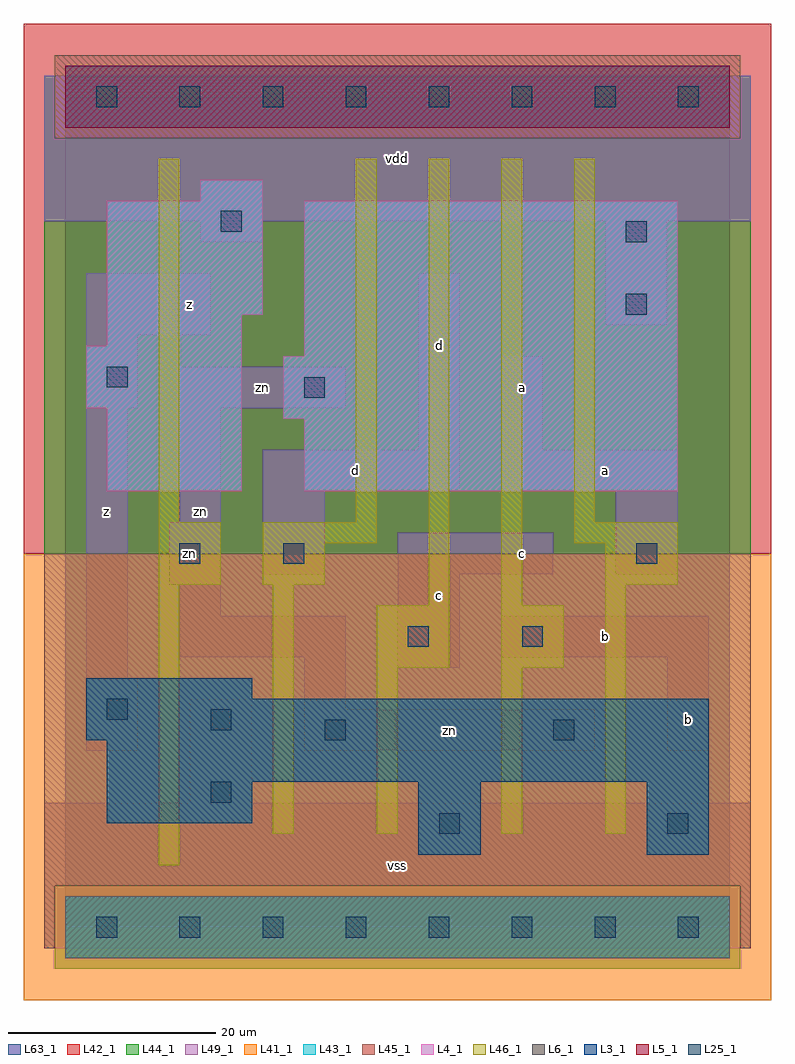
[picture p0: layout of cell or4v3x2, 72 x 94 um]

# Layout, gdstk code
import gdstk
lib = gdstk.Library(unit=1e-6, precision=1e-09)
def R(c, l, rs):  # rectangles x0, y0, x1, y1
    for r in rs: c.add(gdstk.rectangle(r[:2], r[2:], *l))
def A(c, l, x, y, w, h, nx, ny, dx, dy):  # array of equal rectangles
    R(c, l, [(x+i*dx, y+j*dy, x+i*dx+w, y+j*dy+h) for i in range(nx) for j in range(ny)])
L3_1 = (3, 1)
L4_1 = (4, 1)
L5_1 = (5, 1)
L6_1 = (6, 1)
L25_1 = (25, 1)
L41_1 = (41, 1)
L42_1 = (42, 1)
L43_1 = (43, 1)
L44_1 = (44, 1)
L45_1 = (45, 1)
L46_1 = (46, 1)
L49_1 = (49, 1)
L63_1 = (63, 1)

or4v3x2 = lib.new_cell('or4v3x2')
R(or4v3x2, L3_1, [(34,7,40,14), (56,7,62,14), (4,10,18,14), (4,14,62,18), (2,18,62,22), (2,22,18,24)])
R(or4v3x2, L4_1, [(4,42,17,50), (23,42,59,49), (21,49,59,55), (2,50,17,56), (23,55,59,70), (4,56,17,59), (4,59,19,70), (13,70,19,72)])
R(or4v3x2, L5_1, [(0,77,64,83)])
R(or4v3x2, L6_1, [(0,-3,64,3), (0,-3,64,3)])
A(or4v3x2, L25_1, 3, -1, 2, 2, 8, 2, 8, 80)
R(or4v3x2, L25_1, [(36,9,38,11), (58,9,60,11), (14,12,16,14), (25,18,27,20), (47,18,49,20), (14,19,16,21), (4,20,6,22), (33,27,35,29), (44,27,46,29), (11,35,13,37), (21,35,23,37), (55,35,57,37), (23,51,25,53), (4,52,6,54), (54,59,56,61), (54,66,56,68), (15,67,17,69)])
R(or4v3x2, L41_1, [(-4,-7,68,36)])
R(or4v3x2, L42_1, [(-4,36,68,87)])
R(or4v3x2, L43_1, [(0,-3,64,3), (34,7,40,14), (56,7,62,14), (4,10,18,14), (4,14,62,18), (2,18,62,22), (2,22,18,24), (4,42,17,50), (23,42,59,49), (21,49,59,55), (2,50,17,56), (23,55,59,70), (4,56,17,59), (4,59,19,70), (13,70,19,72), (0,77,64,83)])
R(or4v3x2, L44_1, [(-1,-4,65,4), (-2,36,66,76), (-2,76,-1,82), (65,76,66,82)])
R(or4v3x2, L45_1, [(-2,-2,-1,4), (65,-2,66,4), (-2,4,66,36), (-1,76,65,84)])
R(or4v3x2, L46_1, [(9,6,11,33), (20,9,22,33), (30,9,32,25), (42,9,44,25), (52,9,54,33), (30,25,37,31), (42,25,48,31), (35,31,37,74), (42,31,44,74), (9,33,15,39), (19,33,25,37), (52,33,59,37), (19,37,30,39), (49,37,59,39), (9,39,11,74), (28,39,30,74), (49,39,51,74)])
R(or4v3x2, L49_1, [(-2,-2,66,12), (12,12,18,22), (2,17,7,24), (23,17,51,21), (58,17,62,26), (23,21,27,26), (2,24,6,50), (32,25,38,34), (11,26,27,30), (42,26,62,30), (11,30,15,33), (10,33,15,39), (19,34,25,42), (32,34,47,38), (53,34,59,42), (11,39,15,50), (19,42,38,46), (42,42,59,46), (34,46,38,63), (42,46,46,55), (2,50,7,57), (11,50,27,54), (2,57,14,63), (52,58,58,68), (13,66,19,68), (-2,68,66,82)])
R(or4v3x2, L63_1, [(0,0,64,80)])
or4v3x2.add(gdstk.Label('zn', (12,36), layer=49, texttype=1))
or4v3x2.add(gdstk.Label('z', (4,40), layer=49, texttype=1))
or4v3x2.add(gdstk.Label('zn', (13,40), layer=49, texttype=1))
or4v3x2.add(gdstk.Label('z', (12,60), layer=49, texttype=1))
or4v3x2.add(gdstk.Label('vss', (32,6), layer=49, texttype=1))
or4v3x2.add(gdstk.Label('c', (36,32), layer=49, texttype=1))
or4v3x2.add(gdstk.Label('d', (28,44), layer=49, texttype=1))
or4v3x2.add(gdstk.Label('zn', (19,52), layer=49, texttype=1))
or4v3x2.add(gdstk.Label('d', (36,56), layer=49, texttype=1))
or4v3x2.add(gdstk.Label('vdd', (32,74), layer=49, texttype=1))
or4v3x2.add(gdstk.Label('zn', (37,19), layer=49, texttype=1))
or4v3x2.add(gdstk.Label('c', (44,36), layer=49, texttype=1))
or4v3x2.add(gdstk.Label('a', (44,52), layer=49, texttype=1))
or4v3x2.add(gdstk.Label('b', (52,28), layer=49, texttype=1))
or4v3x2.add(gdstk.Label('b', (60,20), layer=49, texttype=1))
or4v3x2.add(gdstk.Label('a', (52,44), layer=49, texttype=1))

lib.write_gds('or4v3x2.gds')
